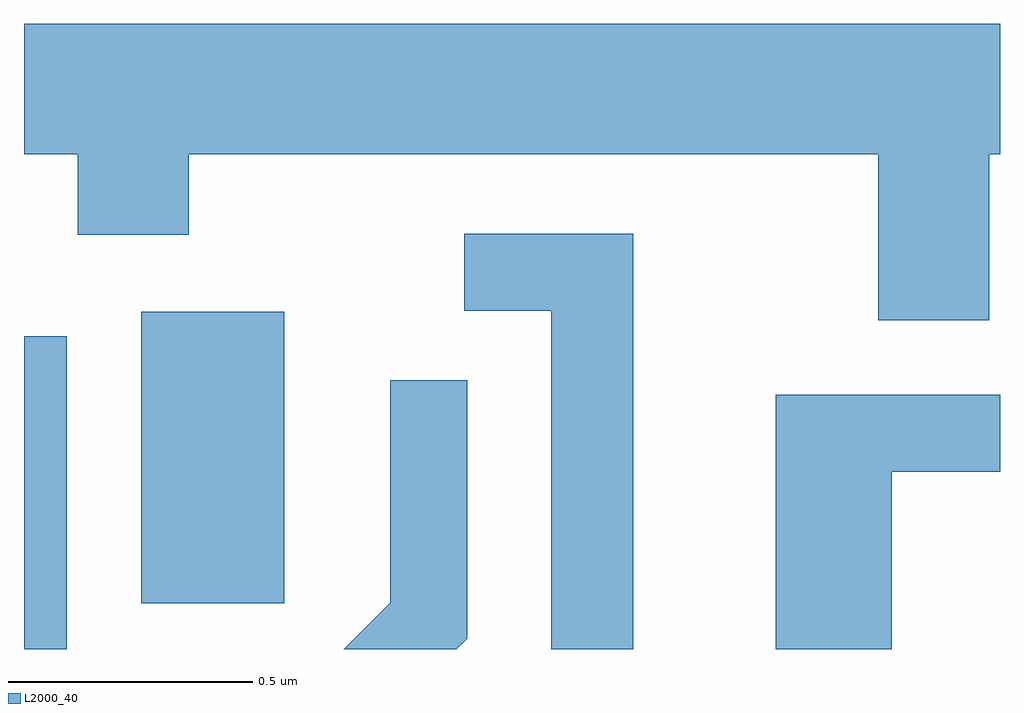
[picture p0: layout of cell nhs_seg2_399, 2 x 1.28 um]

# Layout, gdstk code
import gdstk
lib = gdstk.Library(unit=1e-6, precision=1e-09)
def R(c, l, rs):  # rectangles x0, y0, x1, y1
    for r in rs: c.add(gdstk.rectangle(r[:2], r[2:], *l))
def P(c, l, *ps):  # polygons
    for p in ps: c.add(gdstk.Polygon(p, *l))
L2000_40 = (2000, 40)

nhs_seg2_399 = lib.new_cell('nhs_seg2_399')
R(nhs_seg2_399, L2000_40, [(187.611,1102.802,187.699,1103.444), (187.851,1102.896,188.144,1103.494)])
P(nhs_seg2_399, L2000_40, [(189.589,1103.816),(189.611,1103.816),(189.611,1104.084),(187.611,1104.084),(187.611,1103.816),(187.721,1103.816),(187.721,1103.651),(187.949,1103.651),(187.949,1103.816),(189.361,1103.816),(189.361,1103.476),(189.589,1103.476)],
  [(188.859,1103.654),(188.513,1103.654),(188.513,1103.496),(188.691,1103.496),(188.691,1102.802),(188.859,1102.802)],
  [(188.519,1102.824),(188.519,1103.353),(188.361,1103.353),(188.361,1102.897),(188.266,1102.802),(188.497,1102.802)],
  [(189.389,1103.166),(189.611,1103.166),(189.611,1103.324),(189.151,1103.324),(189.151,1102.802),(189.389,1102.802)])

lib.write_gds('nhs_seg2_399.gds')
